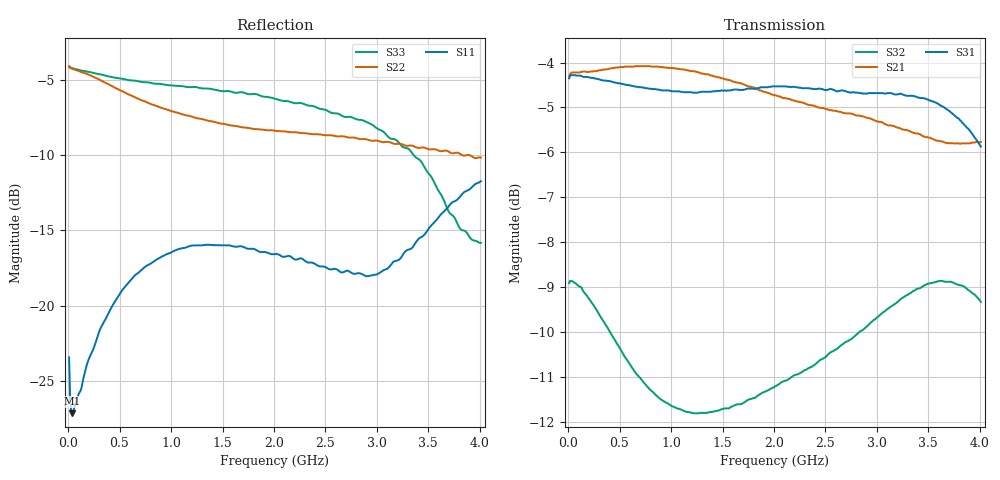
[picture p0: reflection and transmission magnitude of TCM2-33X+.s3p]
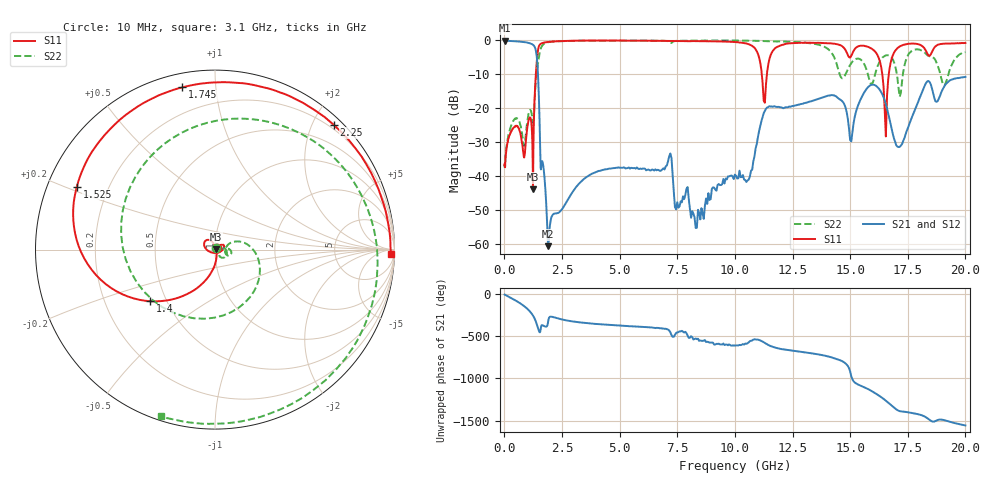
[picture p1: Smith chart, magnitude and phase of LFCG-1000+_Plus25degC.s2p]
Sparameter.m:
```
%% Read Three Port S parameter
ckt1 = read(rfckt.passive,'TCM2-33X+.s3p');
freq = (50E6:1E6:2E10);
a1 = analyze(ckt1,freq);
sparams_3p = sparameters(a1);
s2pA = snp2smp(sparams_3p,[2 3 1]); % reorder port 

%% Read Two Port Sparameter
s2pF = sparameters('AMP_out_ckt.s2p');
s2pC = sparameters('ERA-3SM+___42mA___Plus85degC.s2p');
s2pB = sparameters('LFCG-1000+_Plus25degC.s2p');
common_freq = (50E6:1E6:2E10)'; % Hz
% Interpolate S-parameters for A, B, and C to the common frequency range
s2pC_interp = interpolateSParameters(s2pC, common_freq);
s2pB_interp = interpolateSParameters(s2pB, common_freq);
s2pF_interp = interpolateSParameters(s2pF, common_freq);
s2pA_interp = interpolateSParameters(s2pA, common_freq);

s_cascade = cascadesparams(s2pA_interp, s2pB_interp, s2pC_interp,s2pF_interp);

%% Analyze the cascaded network (example: plot S21)
freq = s_cascade.Frequencies;

s11 = rfparam(s_cascade, 1, 1);
s21 = rfparam(s_cascade, 2, 1);
s12 = rfparam(s_cascade, 1, 2);
s22 = rfparam(s_cascade, 2, 2);
figure;

tiledlayout(2,4)

%% S11

nexttile
plot(freq, 20*log10(abs(s11)),LineWidth=0.8);
title('S11 magnitude');
xlabel('Frequency (Hz)');
ylabel('Magnitude (dB)');

nexttile
plot(freq, angle(s11).*180./pi,LineWidth=0.8, Color='r');
title('S11 phase');
xlabel('Frequency (Hz)');
ylabel('Magnitude (dB)');
%% S21
nexttile
plot(freq, 20*log10(abs(s21)),LineWidth=0.8);
title('S21 magnitude');
xlabel('Frequency (Hz)');
ylabel('Magnitude (dB)');

nexttile
plot(freq, angle(s21).*180./pi,LineWidth=0.8, Color='r');
title('S21 phase');
xlabel('Frequency (Hz)');
ylabel('Magnitude (dB)');

%% S12
nexttile
plot(freq, 20*log10(abs(s12)),LineWidth=0.8);
title('S12 magnitude');
xlabel('Frequency (Hz)');
ylabel('Magnitude (dB)');

nexttile
plot(freq, angle(s12).*180./pi,LineWidth=0.8, Color='r');
title('S12 phase');
xlabel('Frequency (Hz)');
ylabel('Magnitude (dB)');
%% S22
nexttile
plot(freq, 20*log10(abs(s22)),LineWidth=0.8);
title('S22 magnitude');
xlabel('Frequency (Hz)');
ylabel('Magnitude (dB)');

nexttile
plot(freq, angle(s22).*180./pi,LineWidth=0.8, Color='r');
title('S22 phase');
xlabel('Frequency (Hz)');
ylabel('Magnitude (dB)');
%%
hold off
%% Function to interpolate S-parameters
function s2p_interp = interpolateSParameters(s2p, freq)
    F = s2p.Frequencies;
    S11 = zeros(size(s2p.Parameters(1,1,:),3),1);
    S12 = zeros(size(s2p.Parameters(1,1,:),3),1);
    S21 = zeros(size(s2p.Parameters(1,1,:),3),1);
    S22 = zeros(size(s2p.Parameters(1,1,:),3),1);
    for i = 1:size(s2p.Parameters(1,1,:),3)
        S11(i) = s2p.Parameters(1,1,i);
    end
    for i = 1:size(s2p.Parameters(1,1,:),3)
        S12(i) = s2p.Parameters(1,2,i);
    end
    for i = 1:size(s2p.Parameters(1,1,:),3)
        S21(i) = s2p.Parameters(2,1,i);
    end
    for i = 1:size(s2p.Parameters(1,1,:),3)
        S22(i) = s2p.Parameters(2,2,i);
    end
    S = zeros(2,2,size(freq,1));
    S11 = interp1(s2p.Frequencies, S11,freq);
    S12 = interp1(s2p.Frequencies, S12,freq);
    S21 = interp1(s2p.Frequencies, S21,freq);
    S22 = interp1(s2p.Frequencies, S22,freq);

    for i = 1:size(freq,1)
        S(1,1,i) = S11(i);
        S(1,2,i) = S12(i);
        S(2,1,i) = S21(i);
        S(2,2,i) = S22(i);
    end
    s2p_interp = sparameters(S, freq);
end
```
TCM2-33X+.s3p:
!Created: 08-06-2012 at 10:37:37
!MODEL: TCM2-33X+,Run # MHU7050
!S/N: Unit 1
!PORT1=PRIMARY DOT PORT2=SECONDARY DOT PORT3=SECONDARY
# MHz S dB R 50
!Frequency  S11 dB  S11 DEG  S12 dB  S12 DEG  S13 dB  S13 DEG  S21 dB  S21 DEG  S22 dB  S22 DEG  S23 dB  S23 DEG  S31 dB  S31 DEG  S32 dB  S32 DEG  S33 dB  S33 DEG
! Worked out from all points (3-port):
!   401 points, 10 MHz to 4.01 GHz, reference 50 ohm
!   strongest paths, dB at 10 MHz, 1.01 GHz, 2.01 GHz, 3.01 GHz, 4.01 GHz:
!     S31: -4.3, -4.6, -4.5, -4.7, -5.9
!     S21: -4.3, -4.1, -4.7, -5.3, -5.8
!     S32: -8.9, -11.7, -11.2, -9.7, -9.3
!   lowest |S11| = -27.1 dB at 40 MHz (marker M1), VSWR 1.09, Z = 53.4 + j3.05 ohm
!   |S11| at or under -10 dB: start of sweep to end of sweep
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10  -23.42 73.3  -4.32 3.0  -4.37 -177.1
    -4.31 3.0  -4.15 176.2  -8.91 -178.0
    -4.35 -177.2  -8.91 -178.0  -4.11 176.8
40  -27.13 40.4  -4.23 -0.5  -4.30 178.9
    -4.22 -0.6  -4.28 173.0  -8.88 175.7
    -4.28 178.9  -8.87 175.7  -4.24 175.3
610  -18.27 39.3  -4.08 -22.0  -4.53 154.3
     -4.09 -22.2  -6.05 106.5  -10.76 119.1
     -4.51 154.3  -10.75 119.4  -5.05 134.5
1840  -16.35 3.9  -4.58 -71.6  -4.59 107.8
      -4.60 -71.7  -8.29 26.7  -11.43 54.2
      -4.57 107.4  -11.42 54.4  -5.99 68.2
4010  -11.74 44.7  -5.68 -161.4  -5.85 12.6
      -5.77 -161.6  -10.17 -96.2  -9.25 -56.3
      -5.87 13.2  -9.33 -57.0  -15.83 -126.6
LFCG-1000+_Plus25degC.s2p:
! Mini-Circuits
! S2P DATA File Format
! Type: LOW PASS FILTER
! Model: LFCG-1000+
! All S Parameters are in dB deg format
! TEST CONDITIONS: INPUT POWER = 0 dBm @ Temperature = +25deg C
# MHz S dB R 50
!Frequency  S11 dB  S11 DEG  S21 dB  S21 DEG  S12 dB  S12 DEG  S22 dB  S22 DEG
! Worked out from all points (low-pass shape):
!   682 points, 10 MHz to 20 GHz, reference 50 ohm
!   highest |S21| = -0.13 dB at 10 MHz (marker M1); lowest = -60.8 dB at 1.9 GHz (marker M2)
!   |S21| within 3 dB of the highest: start of sweep to 1.366 GHz
!   lowest |S11| = -44.0 dB at 1.24 GHz (marker M3), VSWR 1.01, Z = 50.6 + j0.277 ohm
!   |S11| at or under -10 dB: start of sweep to 1.366 GHz; 11.17 GHz to 11.39 GHz (225.6 MHz wide, 2 % of centre); 16.39 GHz to 16.68 GHz (285.9 MHz wide, 1.73 % of centre)
!   |S22| runs from -37.6 to -0.1 dB; largest |S21 - S12| = 0.0019
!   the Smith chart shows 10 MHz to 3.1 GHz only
!   S11 on the Smith chart (normalised r, x): 10 MHz: 1.02, +0.02; 1.4 GHz: 0.41, -0.30; 1.525 GHz: 0.09, +0.22; 1.745 GHz: 0.07, +0.82; 2.25 GHz: 0.13, +2.32; 3.1 GHz: 41, -50
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10  -36.82 54.2  -0.13 -1.7  -0.13 -1.8  -37.57 53.4
1240  -44.05 25.9  -1.36 109.1  -1.36 109.1  -24.93 -11.6
1400  -6.73 -141.4  -4.60 9.4  -4.60 9.4  -9.66 -53.6
1525  -1.45 155.5  -23.42 -88.8  -23.42 -88.8  -3.87 120.9
1745  -0.70 101.3  -40.94 -19.6  -40.96 -19.7  -1.00 7.8
1900  -0.53 79.7  -60.77 40.4  -60.63 40.2  -0.62 -23.9
2250  -0.36 46.4  -51.10 80.3  -51.07 80.5  -0.35 -63.8
3100  -0.17 -1.4  -43.43 33.2  -43.44 33.1  -0.21 -107.8
10050  -0.61 -145.8  -40.00 112.0  -40.00 111.9  -0.13 139.8
13950  -0.88 145.7  -16.59 -11.4  -16.60 -11.6  -2.22 21.1
20000  -0.85 140.9  -10.85 -118.7  -10.85 -119.0  -3.58 164.1
